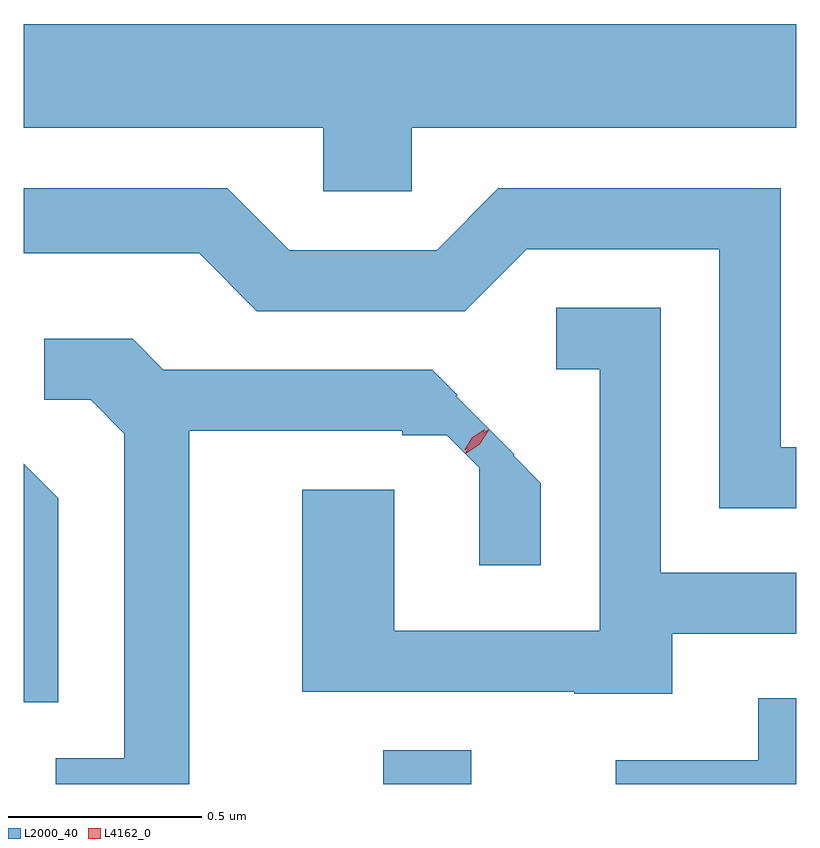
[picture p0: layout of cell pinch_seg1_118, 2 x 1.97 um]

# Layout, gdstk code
import gdstk
lib = gdstk.Library(unit=1e-6, precision=1e-09)
def R(c, l, rs):  # rectangles x0, y0, x1, y1
    for r in rs: c.add(gdstk.rectangle(r[:2], r[2:], *l))
def P(c, l, *ps):  # polygons
    for p in ps: c.add(gdstk.Polygon(p, *l))
L2000_40 = (2000, 40)
L4162_0 = (4162, 0)

pinch_seg1_118 = lib.new_cell('pinch_seg1_118')
R(pinch_seg1_118, L2000_40, [(1022.231,873.457,1022.459,873.544)])
P(pinch_seg1_118, L2000_40, [(1022.304,875.156),(1023.3,875.156),(1023.3,875.424),(1021.3,875.424),(1021.3,875.156),(1022.076,875.156),(1022.076,874.991),(1022.304,874.991)],
  [(1023.3,874.329),(1023.259,874.329),(1023.259,874.999),(1022.529,874.999),(1022.369,874.839),(1021.987,874.839),(1021.827,874.999),(1021.3,874.999),(1021.3,874.831),(1021.754,874.831),(1021.904,874.681),(1022.442,874.681),(1022.602,874.841),(1023.101,874.841),(1023.101,874.171),(1023.3,874.171)],
  [(1022.979,873.846),(1023.3,873.846),(1023.3,874.004),(1022.949,874.004),(1022.949,874.689),(1022.678,874.689),(1022.678,874.531),(1022.791,874.531),(1022.791,873.854),(1022.259,873.854),(1022.259,874.219),(1022.021,874.219),(1022.021,873.696),(1022.725,873.696),(1022.725,873.691),(1022.979,873.691)],
  [(1021.729,874.371),(1022.28,874.371),(1022.28,874.36),(1022.395,874.36),(1022.479,874.276),(1022.479,874.023),(1022.639,874.023),(1022.639,874.236),(1022.568,874.307),(1022.57,874.31),(1022.42,874.46),(1022.423,874.463),(1022.357,874.529),(1021.662,874.529),(1021.582,874.609),(1021.353,874.609),(1021.353,874.451),(1021.474,874.451),(1021.561,874.364),(1021.561,873.524),(1021.383,873.524),(1021.383,873.457),(1021.729,873.457)],
  [(1021.389,874.197),(1021.3,874.286),(1021.3,873.668),(1021.389,873.668)],
  [(1023.3,873.679),(1023.201,873.679),(1023.201,873.519),(1022.833,873.519),(1022.833,873.457),(1023.3,873.457)])
P(pinch_seg1_118, L4162_0, [(1022.442,874.322),(1022.442,874.323),(1022.461,874.355),(1022.493,874.375),(1022.494,874.375),(1022.494,874.374),(1022.475,874.342),(1022.443,874.322)],
  [(1022.443,874.312),(1022.443,874.313),(1022.466,874.35),(1022.503,874.374),(1022.504,874.374),(1022.504,874.373),(1022.48,874.336),(1022.444,874.312)])

lib.write_gds('pinch_seg1_118.gds')
